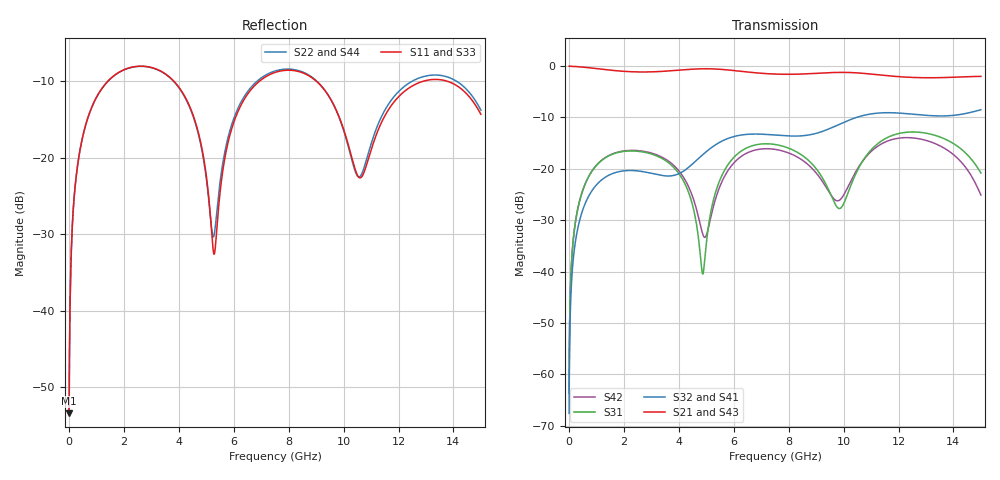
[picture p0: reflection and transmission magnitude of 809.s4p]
! Created with skrf 1.8.0 (http://scikit-rf.org).
# GHz S RI R 50.0
!freq ReS11 ImS11 ReS12 ImS12 ReS13 ImS13
! ReS14 ImS14
! ReS21 ImS21 ReS22 ImS22 ReS23 ImS23
! ReS24 ImS24
! ReS31 ImS31 ReS32 ImS32 ReS33 ImS33
! ReS34 ImS34
! ReS41 ImS41 ReS42 ImS42 ReS43 ImS43
! ReS44 ImS44
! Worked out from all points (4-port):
!   2499 points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, 5 MHz to 15 GHz, reference 50 ohm
!   strongest paths, dB at 5 MHz, 3.476 GHz, 7.19 GHz, 11.1 GHz, 15 GHz:
!     S21: 0.0, -1.0, -1.5, -1.6, -2.0
!     S43: 0.0, -1.0, -1.5, -1.6, -2.0
!     S32: -67.6, -21.3, -13.3, -9.2, -8.5
!     S41: -67.6, -21.4, -13.3, -9.2, -8.5
!     S31: -63.7, -18.2, -15.1, -15.8, -20.8
!     S42: -63.7, -18.0, -16.1, -16.2, -25.1
!   lowest |S11| = -53.4 dB at 5 MHz (marker M1), VSWR 1.00, Z = 50.2 + j0.13 ohm
!   |S11| at or under -10 dB: start of sweep to 1.419 GHz; 3.818 GHz to 6.937 GHz (3.119 GHz wide, 58 % of centre); 9.006 GHz to 12.91 GHz (3.905 GHz wide, 35.6 % of centre) (the widest 3 of 4)
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0.005  0.0017 0.0013  0.9983 -0.00331  8.47e-05 0.000648  -8.25e-05 -0.000411
       0.9983 -0.00331  0.0017 0.0013  -8.25e-05 -0.000411  8.48e-05 0.000648
       8.47e-05 0.000648  -8.25e-05 -0.000411  0.0017 0.0013  0.9983 -0.00331
       -8.25e-05 -0.000411  8.48e-05 0.000648  0.9983 -0.00331  0.0017 0.0013
0.3626511  0.0322 0.0969  0.9556 -0.2367  0.0147 0.0436  -0.0123 -0.027
           0.9556 -0.2367  0.0322 0.0969  -0.0123 -0.027  0.015 0.0435
           0.0147 0.0436  -0.0123 -0.027  0.0322 0.0969  0.9556 -0.2368
           -0.0123 -0.027  0.015 0.0435  0.9556 -0.2368  0.0322 0.0969
1.619545  0.2968 0.1682  0.4925 -0.7611  0.1298 0.0528  -0.0907 0.00281
          0.4925 -0.7611  0.2958 0.169  -0.0907 0.00283  0.1326 0.0484
          0.1298 0.0528  -0.0907 0.00283  0.2968 0.1683  0.4925 -0.7611
          -0.0907 0.00281  0.1326 0.0484  0.4925 -0.7611  0.2959 0.1689
5.283451  0.0234 -0.00127  -0.9366 -0.0516  0.023 0.0473  -0.00449 0.1678
          -0.9366 -0.0516  0.0306 0.00525  -0.0043 0.1678  -0.0112 0.0441
          0.023 0.0473  -0.0043 0.1678  0.0228 -0.00125  -0.9366 -0.0515
          -0.00449 0.1678  -0.0112 0.0441  -0.9366 -0.0515  0.0313 0.00531
8.115882  0.3715 -0.0182  -0.0152 0.8324  0.1224 -0.094  0.2014 -0.0519
          -0.0152 0.8324  0.3768 -0.0274  0.2018 -0.0527  0.118 -0.0729
          0.1224 -0.094  0.2018 -0.0527  0.3724 -0.0156  -0.0149 0.832
          0.2014 -0.0519  0.118 -0.0729  -0.0149 0.832  0.3779 -0.0303
10.89829  0.0873 0.0436  0.8401 -0.0497  0.056 0.1306  -0.0383 -0.3376
          0.8401 -0.0497  0.0928 0.0525  -0.0401 -0.3365  0.0304 0.1352
          0.056 0.1306  -0.0401 -0.3365  0.0934 0.0425  0.84 -0.0502
          -0.0383 -0.3376  0.0304 0.1352  0.84 -0.0502  0.087 0.0528
15  0.1601 -0.1062  -0.5664 -0.5565  -0.0457 -0.079  -0.2536 0.2778
    -0.5664 -0.5565  0.153 -0.1357  -0.2534 0.278  -0.0303 -0.0467
    -0.0457 -0.079  -0.2534 0.278  0.1593 -0.1141  -0.5658 -0.5556
    -0.2536 0.2778  -0.0303 -0.0467  -0.5658 -0.5556  0.1604 -0.1348
